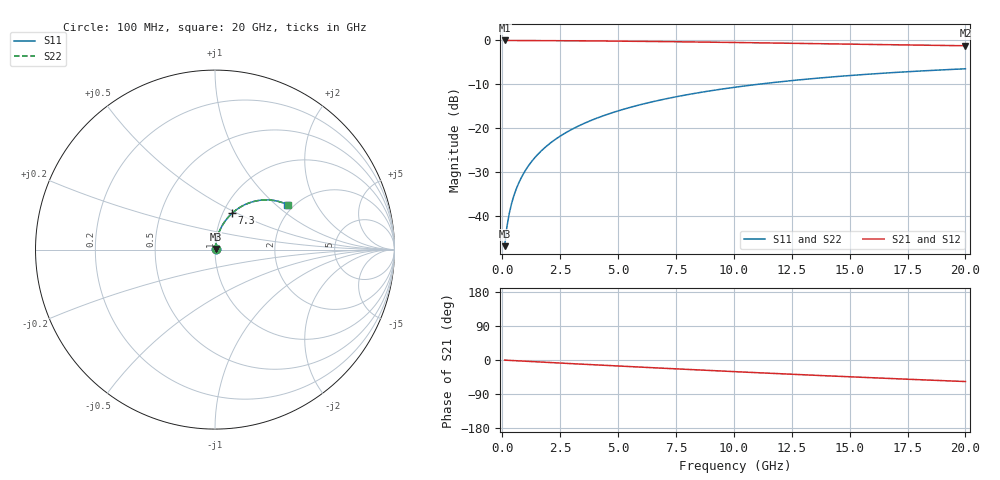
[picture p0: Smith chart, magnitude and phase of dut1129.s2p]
! Touchstone file exported from HFSS 2026.1.0
!  File:  C:/ffzhzh/LocalFiles/Ansys_Project_Files/temp_train_TMRDL_1129_1783161756_43440.aedt
!  Generated:  06:44:01 PM Jul  4, 2026
!  Design:  TMRDL
!  Project:  temp_train_TMRDL_1129_1783161756_43440
! Variables:
!  h_bsmrdl = 2um
!  h_ox = 20um
!  h_rdl = 5um
!  h_sub = 80um
!  h_tmrdl = 4.94um
!  h_tsv = 80um
!  h_via = 3um
!  l_bsmrdl = 300um
!  l_sub = 1284.02um
!  l_tmrdl = 884.02um
!  m_sub = 200um
!  pitch = 54.68um
!  r_tsv = 6um
!  s_tmrdl = 10um
!  w_bsmrdl = 18um
!  w_sub = 500um
!  w_tmrdl = 23.53um
!  x_tsv_center1 = 895.785um
!  x_tsv_center2 = 1213.785um
!  x_tsv_center3 = 2121.335um
!  x_tsv_center4 = 2439.335um
!  x_tsv_center5 = 3346.885um
!  x_tsv_center6 = 3664.885um
# GHz S MA R 50.000000
! Terminal data exported
! Port[1] = TM_RDL1_1_T1
! Port[2] = TM_RDL1_1_T2
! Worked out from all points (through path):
!   200 points, 100 MHz to 20 GHz, reference 50 ohm
!   highest |S21| = -0.03 dB at 100 MHz (marker M1); lowest = -1.2 dB at 20 GHz (marker M2)
!   group delay of S21, straight-line fit = 7.9 ps
!   lowest |S11| = -46.8 dB at 100 MHz (marker M3), VSWR 1.01, Z = 50.3 + j0.357 ohm
!   |S11| at or under -10 dB: start of sweep to 11.02 GHz
!   |S22| runs from -46.8 to -6.5 dB; largest |S21 - S12| = 1.9e-14
!   S11 on the Smith chart (normalised r, x): 100 MHz: 1.01, +0.01; 7.3 GHz: 1.10, +0.47; 20 GHz: 1.85, +1.20
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0.1  0.004586 50.8  0.9971 -0.3  0.9971 -0.3  0.004586 50.8
! Gamma 0 0 0 0
! Port Impedance 50 0 50 0
0.2  0.007632 65.5  0.9969 -0.7  0.9969 -0.7  0.007632 65.5
0.3  0.01079 71.5  0.9967 -1.0  0.9967 -1.0  0.01079 71.5
0.4  0.01396 74.7  0.9965 -1.3  0.9965 -1.3  0.01396 74.7
0.5  0.01716 76.8  0.9964 -1.6  0.9964 -1.6  0.01716 76.8
0.7  0.02361 79.0  0.9962 -2.3  0.9962 -2.3  0.02361 79.0
1  0.03333 80.3  0.9957 -3.2  0.9957 -3.2  0.03333 80.3
1.2  0.03983 80.5  0.9953 -3.9  0.9953 -3.9  0.03983 80.5
1.4  0.04631 80.5  0.9949 -4.5  0.9949 -4.5  0.04631 80.5
1.7  0.05601 80.2  0.9942 -5.5  0.9942 -5.5  0.05601 80.2
2  0.06566 79.6  0.9934 -6.5  0.9934 -6.5  0.06566 79.6
2.7  0.08791 78.0  0.991 -8.7  0.991 -8.7  0.08791 78.0
3.5  0.1128 75.8  0.9877 -11.2  0.9877 -11.2  0.1128 75.8
4.2  0.1341 73.8  0.9843 -13.4  0.9843 -13.4  0.1341 73.8
5  0.1579 71.5  0.9801 -15.8  0.9801 -15.8  0.1579 71.5
6.8  0.2092 66.3  0.9692 -21.3  0.9692 -21.3  0.2092 66.3
7.3  0.2229 64.9  0.9658 -22.8  0.9658 -22.8  0.2229 64.9
8.6  0.2572 61.2  0.9567 -26.6  0.9567 -26.6  0.2572 61.2
10.1  0.2945 57.1  0.9453 -30.9  0.9453 -30.9  0.2946 57.1
13.4  0.3675 48.2  0.9188 -40.1  0.9188 -40.1  0.3675 48.2
16.7  0.4275 39.8  0.8924 -48.7  0.8924 -48.7  0.4275 39.8
20  0.4751 31.8  0.8681 -56.9  0.8681 -56.9  0.4751 31.8
